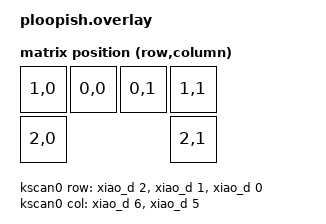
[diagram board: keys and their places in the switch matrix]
#include <dt-bindings/zmk/matrix_transform.h> // Put this with the other includes at the top of your overlay
/ {
    physical_layout0: physical_layout_0 { // First physical layout, use different naming for other layouts
        compatible = "zmk,physical-layout";
        display-name = "Default Layout";
        kscan = <&kscan0>; // Label of the kscan node, optional if all layouts use the same
        transform = <&default_transform>; // Label of the matrix transform for this layout
    };
};

/ {
    kscan0: kscan0 {
        compatible = "zmk,kscan-gpio-matrix";
        diode-direction = "row2col";
        wakeup-source;

        row-gpios
            = <&xiao_d 2 GPIO_ACTIVE_HIGH>
            , <&xiao_d 1 GPIO_ACTIVE_HIGH>
            , <&xiao_d 0 GPIO_ACTIVE_HIGH>
            ;

        col-gpios
            = <&xiao_d 6 (GPIO_ACTIVE_HIGH | GPIO_PULL_DOWN)>
            , <&xiao_d 5 (GPIO_ACTIVE_HIGH | GPIO_PULL_DOWN)>
            ;
    };
};

&pinctrl {
    sercom0_default: sercom0_default {
        group1 {
            pinmux = <
                PINMUX_PA08D_SERCOM0_PAD0   /* SCK  -> PA08 */
                PINMUX_PA06D_SERCOM0_PAD2   /* MOSI -> PA06 */
                PINMUX_PA07D_SERCOM0_PAD3   /* MISO -> PA07 */
            >;
        };
    };

    sercom0_sleep: sercom0_sleep {
        group1 {
            pinmux = <
                PINMUX_PA08D_SERCOM0_PAD0
                PINMUX_PA06D_SERCOM0_PAD2
                PINMUX_PA07D_SERCOM0_PAD3
            >;
            low-power-enable;
        };
    };
};

&sercom0 {
    status = "okay";
    compatible = "atmel,sam0-spi";
    pinctrl-0 = <&sercom0_default>;
    pinctrl-1 = <&sercom0_sleep>;
    pinctrl-names = "default", "sleep";

    cs-gpios = <&xiao_d 8 GPIO_ACTIVE_LOW>;  /* CS -> D8 */

    trackball: trackball@0 {
        compatible = "pixart,pmw3360";
        reg = <0>;
        spi-max-frequency = <2000000>;
        status = "okay";
    };
};

/ {
  trackball_listener {
    compatible = "zmk,input-listener";
    device = <&trackball>;

  };
};

/ {
    default_transform: keymap_transform0 {
        compatible = "zmk,matrix-transform";
        columns = <2>; // Length of the "col-gpios" array
        rows = <3>; // Length of the "row-gpios" array
        map = <
        //   Key 1 | Key 2 | Key 3 | Key 4
             RC(1,0) RC(0,0) RC(0,1) RC(1,1)

        //   Key LMB       |     Key RMB
            RC(2,0)                 RC(2,1)
        >;
    };
};
